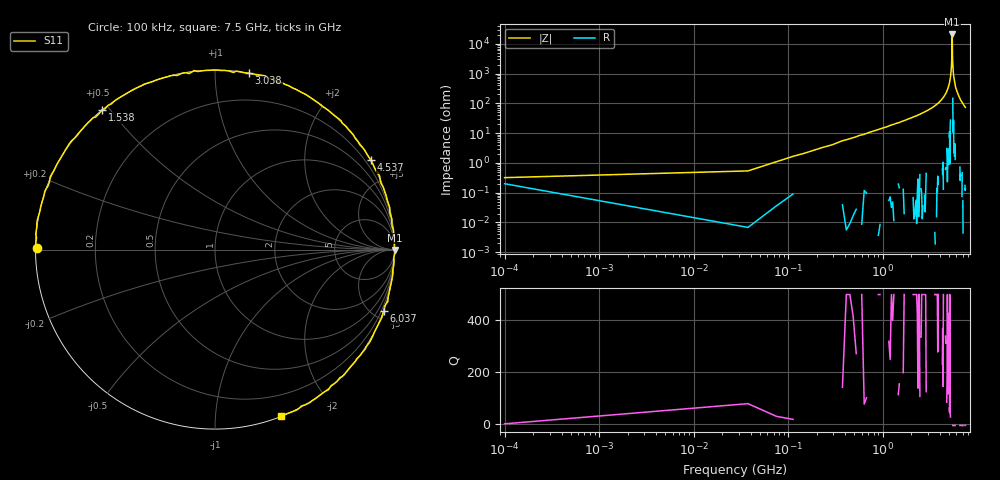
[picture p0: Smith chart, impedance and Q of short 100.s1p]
# Hz S RI R 50.000000
! FREQ  re:S1  1  im:S1  1
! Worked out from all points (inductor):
!   201 points, 100 kHz to 7.5 GHz, reference 50 ohm
!   read as one part to ground: L = 2.32 nH near 37.6 MHz
!   highest |Z| = 20.7 kohm at 5.437 GHz (marker M1)
!   self-resonance near 5.4 GHz
!   S11 on the Smith chart (normalised r, x): 100 kHz: 0.00, +0.01; 1.538 GHz: -0.00, +0.48; 3.038 GHz: -0.00, +1.21; 4.537 GHz: -0.01, +3.76; 6.037 GHz: -0.03, -5.66; 7.5 GHz: 0.00, -1.47
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100000  -0.992 0.00992
3.00092e8  -0.9894 0.1672
7.12581e8  -0.9187 0.4042
9.37575e8  -0.8563 0.5158
1.12507e9  -0.801 0.6046
1.537559e9  -0.6299 0.7776
1.87505e9  -0.4682 0.8843
2.175042e9  -0.3036 0.9523
2.475034e9  -0.1437 0.9803
2.512533e9  -0.116 0.9978
2.812525e9  0.055 0.9981
3.037519e9  0.1893 0.9821
3.37501e9  0.3747 0.9293
3.75e9  0.5612 0.8262
3.974994e9  0.6573 0.7536
4.012493e9  0.6921 0.7267
4.537479e9  0.8693 0.497
4.687475e9  0.9096 0.4264
5.024966e9  0.9741 0.2321
5.437455e9  1.004 -0.00187
5.62495e9  0.9901 -0.1134
6.037439e9  0.9411 -0.3432
6.37493e9  0.8601 -0.5186
6.562425e9  0.7892 -0.6092
6.712421e9  0.7302 -0.6834
6.824918e9  0.6961 -0.7131
6.974914e9  0.6326 -0.7805
7.4999e9  0.3667 -0.9285
